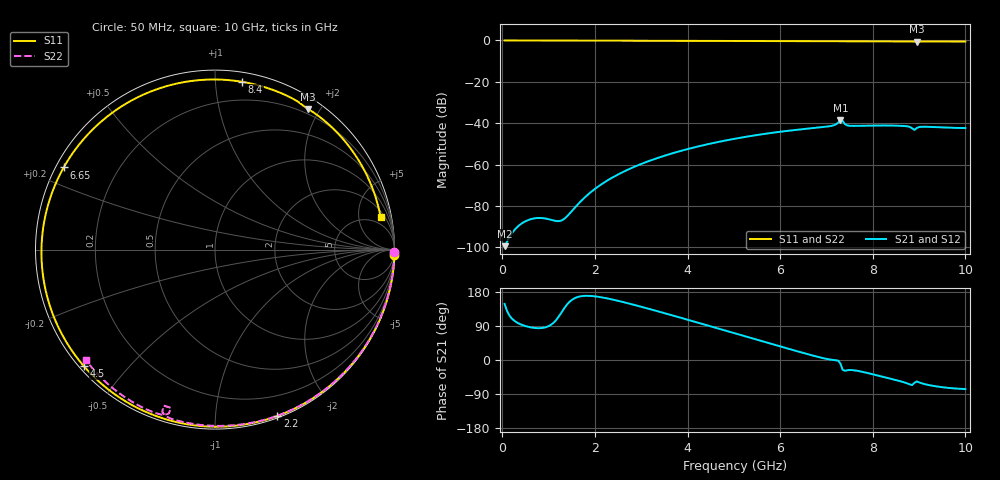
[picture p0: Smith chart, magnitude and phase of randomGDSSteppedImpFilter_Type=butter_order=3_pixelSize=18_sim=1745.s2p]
! freq	dB(S11)	phase(S11)	dB(S12)	phase(S12)
!  dB(S21)	phase(S21)	dB(S22)	phase(S22)
!S-par simulation data
#  GHz  S  DB  R 50
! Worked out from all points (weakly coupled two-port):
!   200 points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, 50 MHz to 10 GHz, reference 50 ohm
!   highest |S21| = -38.40 dB at 7.3 GHz (marker M1); lowest = -99.5 dB at 50 MHz (marker M2)
!   lowest |S11| = -0.5 dB at 8.95 GHz (marker M3), VSWR 32.05, Z = 6.95 + j92.7 ohm
!   |S11| at or under -10 dB: nowhere
!   |S22| runs from -0.8 to 0.0 dB; largest |S21 - S12| = 0
!   S11 on the Smith chart (normalised r, x): 50 MHz: 0, -71; 2.2 GHz: 0.02, -1.44; 4.5 GHz: 0.01, -0.38; 6.65 GHz: 0.02, +0.25; 8.4 GHz: 0.06, +1.17; 10 GHz: 2.96, +9.32
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0.05  -0.00 -1.6  -99.48 147.9  -99.48 147.9  -0.00 -0.8
0.8  -0.03 -25.8  -85.84 84.0  -85.84 84.0  -0.02 -12.9
1.6  -0.06 -51.0  -80.03 165.0  -80.03 165.0  -0.03 -25.6
1.75  -0.07 -55.7  -76.57 169.0  -76.57 169.0  -0.04 -28.0
2.2  -0.09 -69.5  -68.68 164.1  -68.68 164.1  -0.04 -35.0
2.75  -0.11 -86.1  -62.09 148.6  -62.09 148.6  -0.06 -43.4
3.4  -0.14 -105.5  -56.49 127.1  -56.49 127.1  -0.07 -53.2
4.5  -0.20 -138.3  -49.86 88.8  -49.86 88.8  -0.10 -69.2
5.05  -0.23 -155.1  -47.41 69.4  -47.41 69.4  -0.12 -76.9
5.9  -0.30 177.6  -44.45 39.4  -44.45 39.4  -0.15 -88.5
6.65  -0.36 151.5  -42.52 13.5  -42.52 13.5  -0.19 -98.5
6.7  -0.37 149.7  -42.41 11.9  -42.41 11.9  -0.19 -99.2
7.15  -0.40 132.7  -41.08 0.1  -41.08 0.1  -0.26 -105.8
7.3  -0.41 126.9  -38.40 -9.2  -38.40 -9.2  -0.77 -108.3
7.5  -0.43 118.9  -41.27 -26.4  -41.27 -26.4  -0.30 -107.8
8.35  -0.47 83.0  -41.14 -48.3  -41.14 -48.3  -0.31 -119.3
8.4  -0.47 80.8  -41.15 -49.9  -41.15 -49.9  -0.32 -120.0
8.75  -0.48 65.3  -41.55 -61.9  -41.55 -61.9  -0.35 -124.3
8.9  -0.53 58.4  -43.25 -60.2  -43.25 -60.2  -0.36 -126.1
8.95  -0.54 56.5  -42.34 -56.5  -42.34 -56.5  -0.36 -126.8
9.5  -0.52 32.4  -42.05 -71.8  -42.05 -71.8  -0.42 -133.5
10  -0.53 11.1  -42.36 -76.7  -42.36 -76.7  -0.48 -139.6
